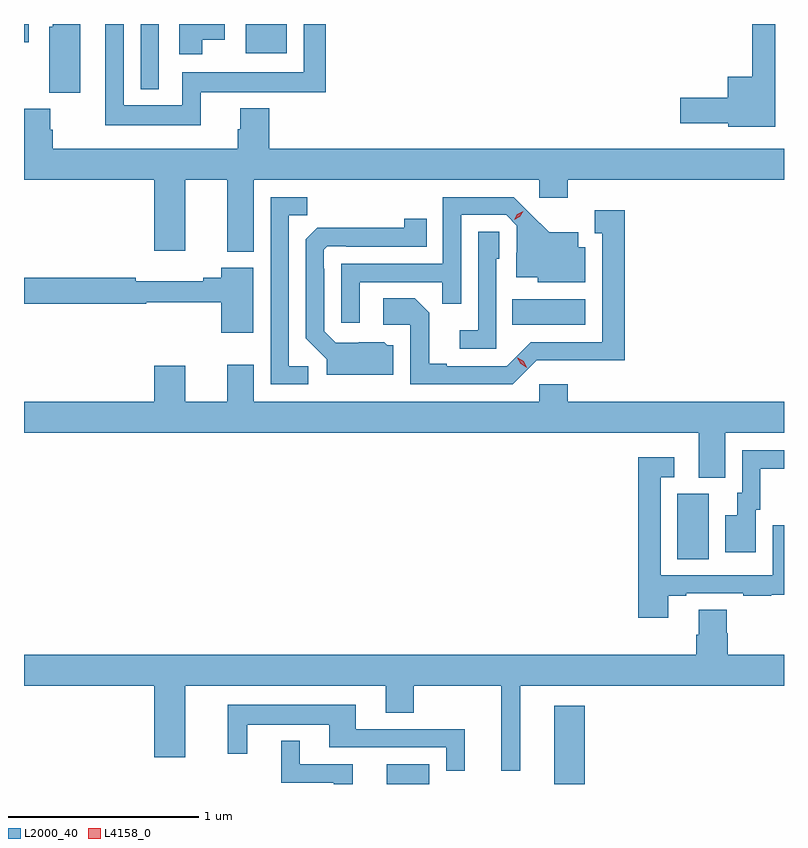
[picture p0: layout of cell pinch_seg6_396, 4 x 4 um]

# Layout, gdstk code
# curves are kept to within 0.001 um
import gdstk
lib = gdstk.Library(unit=1e-6, precision=1e-09)
def R(c, l, rs):  # rectangles x0, y0, x1, y1
    for r in rs: c.add(gdstk.rectangle(r[:2], r[2:], *l))
def P(c, l, *ps):  # polygons
    for p in ps: c.add(gdstk.Polygon(p, *l))
L2000_40 = (2000, 40)
L4158_0 = (4158, 0)

pinch_seg6_396 = lib.new_cell('pinch_seg6_396')
R(pinch_seg6_396, L2000_40, [(657.74,926.84,657.964,926.944), (658.622,926.84,658.781,927.253), (659.27,928.024,659.434,928.368), (658.402,929.258,658.786,929.392), (656.445,930.497,656.541,930.84), (656.999,930.686,657.214,930.84), (655.831,930.744,655.857,930.84)])
P(pinch_seg6_396, L2000_40, [(656.77,930.758),(656.887,930.758),(656.887,930.84),(656.648,930.84),(656.648,930.681),(656.77,930.681)],
  [(656.762,930.482),(657.296,930.482),(657.296,930.48),(657.419,930.48),(657.419,930.84),(657.303,930.84),(657.303,930.586),(656.664,930.586),(656.664,930.412),(656.355,930.412),(656.355,930.84),(656.258,930.84),(656.258,930.308),(656.762,930.308)],
  [(659.785,930.84),(659.664,930.84),(659.664,930.562),(659.534,930.562),(659.534,930.452),(659.286,930.452),(659.286,930.317),(659.538,930.317),(659.538,930.299),(659.785,930.299)],
  [(656.128,930.84),(655.982,930.84),(655.982,930.825),(655.964,930.825),(655.964,930.478),(656.128,930.478)],
  [(657.04,930.02),(658.542,930.02),(658.542,929.925),(658.694,929.925),(658.694,930.02),(659.831,930.02),(659.831,930.184),(657.122,930.184),(657.122,930.397),(656.969,930.397),(656.969,930.285),(656.957,930.285),(656.957,930.184),(655.982,930.184),(655.982,930.284),(655.969,930.284),(655.969,930.393),(655.831,930.393),(655.831,930.02),(656.516,930.02),(656.516,929.646),(656.68,929.646),(656.68,930.02),(656.9,930.02),(656.9,929.642),(657.04,929.642)],
  [(657.328,929.04),(657.225,929.04),(657.225,929.833),(657.321,929.833),(657.321,929.928),(657.129,929.928),(657.129,928.944),(657.328,928.944)],
  [(657.597,929.481),(658.033,929.481),(658.033,929.368),(658.131,929.368),(658.131,929.835),(658.368,929.835),(658.425,929.778),(658.425,929.636),(658.421,929.636),(658.421,929.507),(658.536,929.507),(658.536,929.48),(658.786,929.48),(658.786,929.665),(658.747,929.665),(658.747,929.743),(658.595,929.743),(658.408,929.928),(658.035,929.928),(658.035,929.577),(657.501,929.577),(657.501,929.268),(657.597,929.268)],
  [(658.53,929.07),(658.993,929.069),(658.993,929.86),(658.835,929.86),(658.835,929.739),(658.874,929.739),(658.874,929.166),(658.497,929.166),(658.371,929.04),(658.057,929.04),(658.057,929.053),(657.963,929.053),(657.963,929.32),(657.887,929.396),(657.723,929.396),(657.723,929.256),(657.864,929.256),(657.864,928.944),(658.404,928.944)],
  [(657.775,929.148),(657.744,929.148),(657.728,929.164),(657.471,929.163),(657.411,929.223),(657.411,929.552),(657.408,929.552),(657.408,929.652),(657.426,929.67),(657.526,929.67),(657.526,929.667),(657.95,929.667),(657.95,929.815),(657.832,929.815),(657.832,929.768),(657.374,929.767),(657.315,929.708),(657.315,929.186),(657.425,929.076),(657.425,928.994),(657.775,928.994)],
  [(658.317,929.604),(658.332,929.604),(658.332,929.747),(658.221,929.747),(658.221,929.227),(658.125,929.227),(658.125,929.13),(658.317,929.13)],
  [(657.037,929.557),(656.87,929.557),(656.87,929.504),(656.774,929.504),(656.774,929.485),(656.42,929.485),(656.42,929.504),(655.831,929.504),(655.831,929.368),(656.474,929.368),(656.474,929.376),(656.87,929.376),(656.87,929.214),(657.037,929.214)],
  [(659.521,928.688),(659.831,928.688),(659.831,928.852),(658.694,928.852),(658.694,928.945),(658.542,928.945),(658.542,928.852),(657.04,928.852),(657.04,929.047),(656.9,929.047),(656.9,928.852),(656.68,928.852),(656.68,929.041),(656.516,929.041),(656.516,928.852),(655.831,928.852),(655.831,928.688),(659.381,928.688),(659.381,928.453),(659.521,928.453)],
  [(659.683,928.284),(659.707,928.284),(659.707,928.5),(659.831,928.5),(659.831,928.596),(659.61,928.596),(659.61,928.374),(659.585,928.374),(659.585,928.255),(659.522,928.255),(659.522,928.059),(659.683,928.059)],
  [(659.221,927.831),(659.317,927.831),(659.317,927.843),(659.617,927.843),(659.617,927.831),(659.765,927.831),(659.765,927.837),(659.831,927.837),(659.831,928.201),(659.772,928.201),(659.772,927.939),(659.181,927.939),(659.181,928.455),(659.254,928.455),(659.254,928.561),(659.065,928.561),(659.065,927.714),(659.221,927.714)],
  [(658.442,927.356),(659.831,927.356),(659.831,927.52),(659.534,927.52),(659.534,927.633),(659.529,927.633),(659.529,927.758),(659.381,927.758),(659.381,927.626),(659.369,927.626),(659.369,927.52),(655.831,927.52),(655.831,927.356),(656.516,927.356),(656.516,926.982),(656.68,926.982),(656.68,927.356),(657.734,927.356),(657.734,927.214),(657.882,927.214),(657.882,927.356),(658.343,927.356),(658.343,926.91),(658.442,926.91)],
  [(658.151,927.129),(657.577,927.129),(657.577,927.256),(656.903,927.256),(656.903,927),(657.007,927),(657.007,927.152),(657.437,927.152),(657.437,927.033),(658.053,927.033),(658.053,926.91),(658.151,926.91)],
  [(657.56,926.943),(657.283,926.943),(657.283,927.067),(657.185,927.067),(657.185,926.847),(657.462,926.847),(657.462,926.84),(657.56,926.84)])
P(pinch_seg6_396, L4158_0, [(658.478,929.032),(658.446,929.051),(658.428,929.084),(658.428,929.084),(658.429,929.084),(658.46,929.065),(658.478,929.032),(658.478,929.032)],
  [(658.41,929.81),(658.41,929.81),(658.427,929.839),(658.458,929.854),(658.458,929.854),(658.458,929.854),(658.441,929.825),(658.41,929.81)])

lib.write_gds('pinch_seg6_396.gds')
